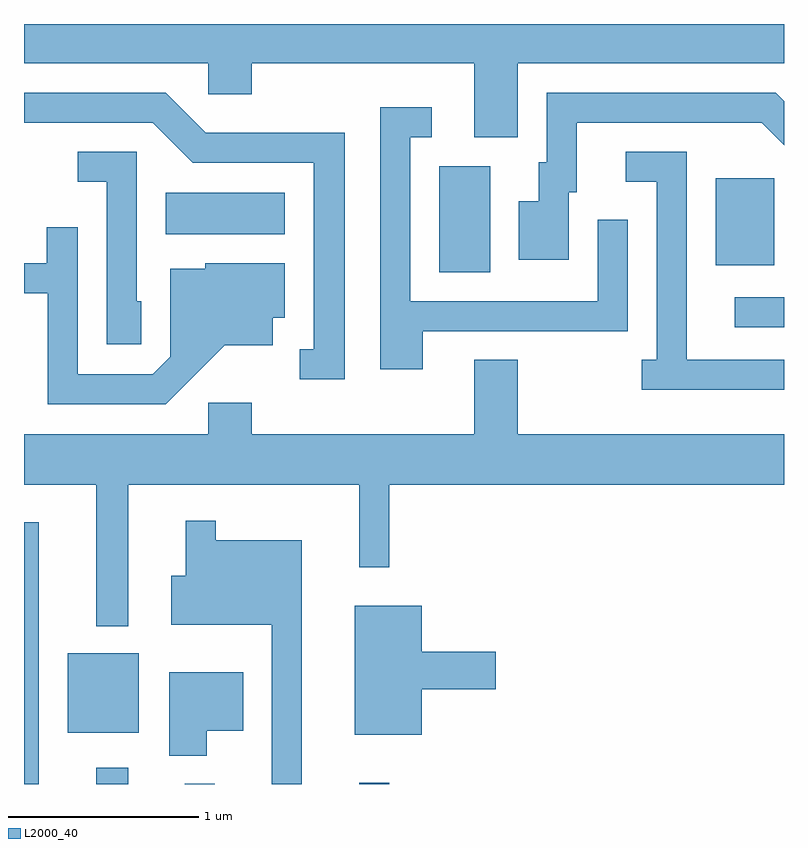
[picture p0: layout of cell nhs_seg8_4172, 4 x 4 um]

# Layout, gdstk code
import gdstk
lib = gdstk.Library(unit=1e-6, precision=1e-09)
def R(c, l, rs):  # rectangles x0, y0, x1, y1
    for r in rs: c.add(gdstk.rectangle(r[:2], r[2:], *l))
def P(c, l, *ps):  # polygons
    for p in ps: c.add(gdstk.Polygon(p, *l))
L2000_40 = (2000, 40)

nhs_seg8_4172 = lib.new_cell('nhs_seg8_4172')
R(nhs_seg8_4172, L2000_40, [(309.611,1890.342,309.689,1891.719), (309.991,1890.342,310.159,1890.428), (310.456,1890.342,310.614,1890.343), (311.376,1890.342,311.534,1890.348), (309.841,1890.611,310.214,1891.029), (313.353,1892.746,313.611,1892.904), (311.796,1893.036,312.064,1893.594), (313.251,1893.071,313.559,1893.529), (310.356,1893.236,310.984,1893.454)])
P(nhs_seg8_4172, L2000_40, [(312.209,1894.136),(313.611,1894.136),(313.611,1894.342),(309.611,1894.342),(309.611,1894.136),(310.581,1894.136),(310.581,1893.971),(310.809,1893.971),(310.809,1894.136),(311.981,1894.136),(311.981,1893.746),(312.209,1893.746)],
  [(312.479,1893.456),(312.519,1893.456),(312.519,1893.821),(313.494,1893.821),(313.611,1893.704),(313.611,1893.935),(313.567,1893.979),(312.361,1893.979),(312.361,1893.614),(312.321,1893.614),(312.321,1893.409),(312.216,1893.409),(312.216,1893.101),(312.479,1893.101)],
  [(311.299,1893.769),(310.567,1893.769),(310.357,1893.979),(309.611,1893.979),(309.611,1893.821),(310.289,1893.821),(310.499,1893.611),(311.136,1893.611),(311.136,1892.629),(311.063,1892.629),(311.063,1892.471),(311.299,1892.471)],
  [(311.709,1892.726),(312.789,1892.726),(312.789,1893.313),(312.631,1893.313),(312.631,1892.884),(311.644,1892.884),(311.644,1893.746),(311.758,1893.746),(311.758,1893.904),(311.486,1893.904),(311.486,1892.526),(311.709,1892.526)],
  [(313.611,1892.574),(313.099,1892.574),(313.099,1893.669),(312.778,1893.669),(312.778,1893.511),(312.941,1893.511),(312.941,1892.574),(312.863,1892.574),(312.863,1892.416),(313.611,1892.416)],
  [(310.229,1892.884),(310.204,1892.884),(310.204,1893.669),(309.893,1893.669),(309.893,1893.511),(310.046,1893.511),(310.046,1892.656),(310.229,1892.656)],
  [(310.667,1892.651),(310.919,1892.651),(310.919,1892.796),(310.984,1892.796),(310.984,1893.084),(310.566,1893.084),(310.566,1893.054),(310.381,1893.054),(310.381,1892.592),(310.289,1892.499),(309.894,1892.499),(309.894,1893.273),(309.731,1893.273),(309.731,1893.084),(309.611,1893.084),(309.611,1892.926),(309.736,1892.926),(309.736,1892.341),(310.357,1892.341)],
  [(310.159,1891.916),(311.376,1891.916),(311.376,1891.483),(311.534,1891.483),(311.534,1891.916),(313.611,1891.916),(313.611,1892.184),(312.209,1892.184),(312.209,1892.574),(311.981,1892.574),(311.981,1892.184),(310.809,1892.184),(310.809,1892.349),(310.581,1892.349),(310.581,1892.184),(309.611,1892.184),(309.611,1891.916),(309.991,1891.916),(309.991,1891.173),(310.159,1891.173)],
  [(311.074,1891.624),(310.619,1891.624),(310.619,1891.728),(310.461,1891.728),(310.461,1891.439),(310.386,1891.439),(310.386,1891.181),(310.916,1891.181),(310.916,1890.342),(311.074,1890.342)],
  [(311.704,1890.841),(312.094,1890.841),(312.094,1891.039),(311.704,1891.039),(311.704,1891.279),(311.351,1891.279),(311.351,1890.601),(311.704,1890.601)],
  [(310.574,1890.621),(310.764,1890.621),(310.764,1890.929),(310.376,1890.929),(310.376,1890.491),(310.574,1890.491)])

lib.write_gds('nhs_seg8_4172.gds')
